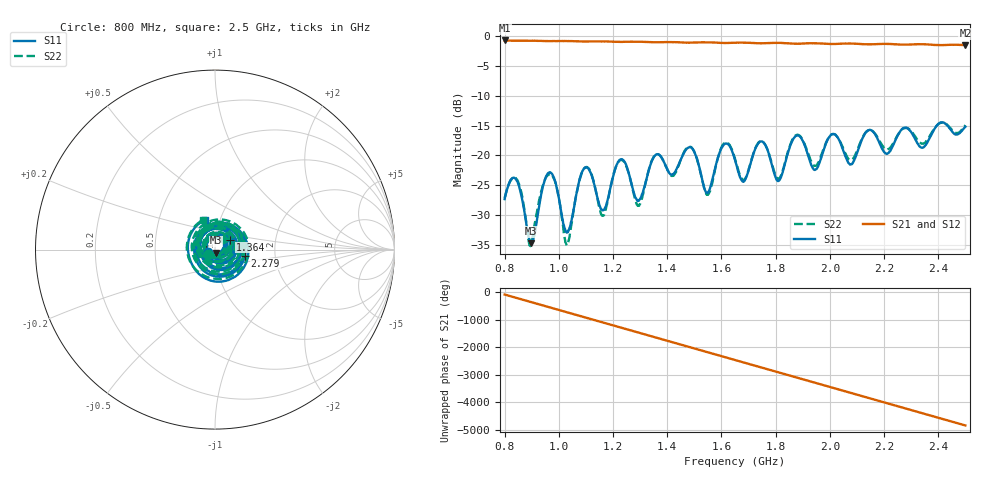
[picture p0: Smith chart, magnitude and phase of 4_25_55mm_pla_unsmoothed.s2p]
!Keysight Technologies N9950B: A.12.38
!Date: Tuesday, 25 April 2023 11:58:35
!Timezone: (UTC-06:00) Central Time (US & Canada)
!Model: N9950B
!Serial: MY61131330
!GPS Latitude:
!GPS Longitude:
!GPS TimeStamp: 0001-01-01 00:00:00Z
!GPS Seconds Since Last Read: 0
!CHECKSUM:1612502830
!Correction: S11(Rdy)S21(Rdy)S12(Rdy)S22(Rdy)
!S2P File: Measurements:S11,S21,S12,S22:
# Hz S DB R 50
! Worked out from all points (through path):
!   1001 points, 800 MHz to 2.5 GHz, reference 50 ohm
!   highest |S21| = -0.79 dB at 801.7 MHz (marker M1); lowest = -1.6 dB at 2.5 GHz (marker M2)
!   group delay of S21, straight-line fit = 7.77 ns
!   lowest |S11| = -34.6 dB at 898.6 MHz (marker M3), VSWR 1.04, Z = 50.6 - j1.76 ohm
!   |S11| at or under -10 dB: start of sweep to end of sweep
!   |S22| runs from -35.1 to -14.5 dB; largest |S21 - S12| = 0.005
!   S11 on the Smith chart (normalised r, x): 800 MHz: 0.92, -0.02; 1.364 GHz: 1.18, +0.13; 2.279 GHz: 1.40, -0.10; 2.5 GHz: 0.85, +0.29
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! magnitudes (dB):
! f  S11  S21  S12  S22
! 800 MHz  -27.3  -0.8  -0.8  -27.1
! 801.7 MHz  -26.9  -0.8  -0.8  -26.9
! 847.6 MHz  -24.4  -0.8  -0.8  -24.1
! 898.6 MHz  -34.6  -0.8  -0.8  -34.9
! 966.6 MHz  -22.8  -0.9  -0.9  -23.1
! 1.031 GHz  -32.8  -0.9  -0.9  -35.0
! 1.084 GHz  -22.9  -0.9  -1.0  -23.0
! 1.162 GHz  -29.2  -0.9  -0.9  -30.1
! 1.222 GHz  -20.9  -1.0  -1.0  -21.0
! 1.295 GHz  -27.6  -1.0  -1.0  -28.4
! 1.364 GHz  -19.8  -1.1  -1.1  -19.8
! 1.368 GHz  -19.8  -1.1  -1.1  -19.8
! 1.488 GHz  -18.7  -1.1  -1.2  -18.6
! 1.55 GHz  -26.3  -1.1  -1.1  -26.6
! 1.607 GHz  -18.3  -1.2  -1.2  -18.1
! 1.65 GHz  -20.7  -1.2  -1.2  -20.6
! 1.812 GHz  -24.2  -1.2  -1.2  -23.9
! 1.881 GHz  -16.7  -1.3  -1.3  -16.5
! 1.934 GHz  -21.8  -1.3  -1.3  -21.2
! 2.218 GHz  -19.5  -1.4  -1.4  -18.9
! 2.279 GHz  -15.3  -1.5  -1.5  -15.4
! 2.5 GHz  -15.2  -1.6  -1.6  -14.9
